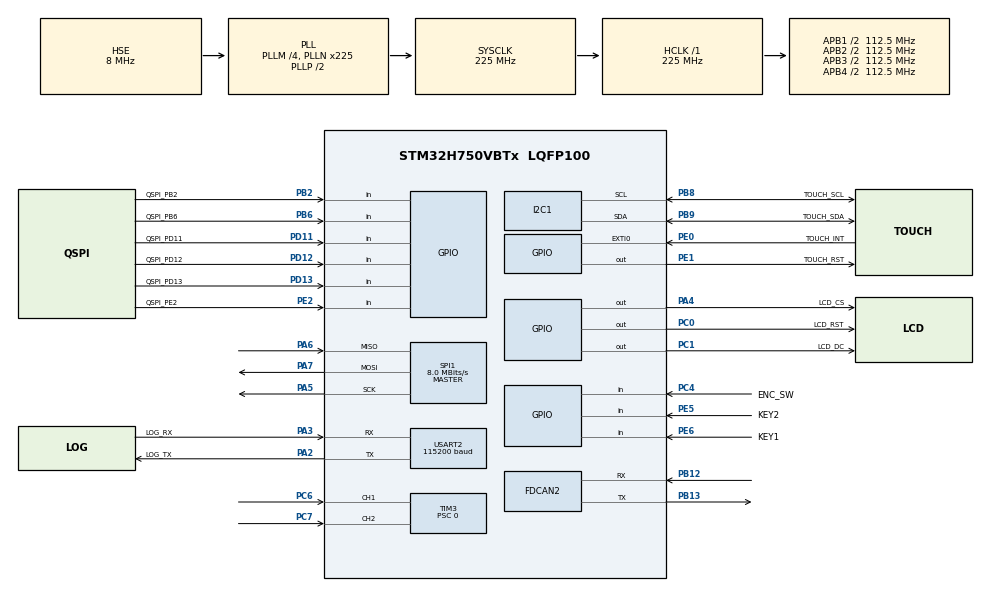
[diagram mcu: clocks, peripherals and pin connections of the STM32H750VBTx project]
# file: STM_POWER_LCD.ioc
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CORTEX_M7.default_mode_Activation=1
FDCAN2.CalculateBaudRateNominal=500000
FDCAN2.CalculateTimeBitNominal=2000
FDCAN2.CalculateTimeQuantumNominal=125.0
FDCAN2.FrameFormat=FDCAN_FRAME_CLASSIC
FDCAN2.Mode=FDCAN_MODE_NORMAL
FDCAN2.NominalPrescaler=1
FDCAN2.NominalSyncJumpWidth=2
FDCAN2.NominalTimeSeg1=13
FDCAN2.NominalTimeSeg2=2
FDCAN2.RxFifo0ElmtsNbr=16
FDCAN2.StdFiltersNbr=1
FDCAN2.TxFifoQueueElmtsNbr=3
FREERTOS.Tasks01=defaultTask,24,256,StartDefaultTask,Default,NULL,Dynamic,NULL,NULL;GuiTask,16,512,StartGuiTask,Gui,NULL,Dynamic,NULL,NULL
FREERTOS.configCHECK_FOR_STACK_OVERFLOW=2
FREERTOS.configTOTAL_HEAP_SIZE=16384
FREERTOS.configUSE_MALLOC_FAILED_HOOK=1
I2C1.Timing=0xB0132D2D
Mcu.Family=STM32H7
Mcu.Name=STM32H750VBTx
Mcu.Package=LQFP100
NVIC.EXTI0_IRQn=true\:6\:0\:true\:false\:true\:true\:true\:true\:true
NVIC.FDCAN2_IT0_IRQn=true\:6\:0\:true\:false\:true\:true\:true\:true\:true
NVIC.FDCAN2_IT1_IRQn=true\:6\:0\:true\:false\:true\:true\:true\:true\:true
NVIC.PriorityGroup=NVIC_PRIORITYGROUP_4
NVIC.TIM6_DAC_IRQn=true\:15\:0\:false\:false\:true\:false\:false\:true\:true
NVIC.TimeBase=TIM6_DAC_IRQn
NVIC.TimeBaseIP=TIM6
PA13\ (JTMS/SWDIO).Mode=Serial_Wire
PA13\ (JTMS/SWDIO).Signal=DEBUG_JTMS-SWDIO
PA14\ (JTCK/SWCLK).Mode=Serial_Wire
PA14\ (JTCK/SWCLK).Signal=DEBUG_JTCK-SWCLK
PA2.GPIO_Label=LOG_TX
PA2.GPIO_Speed=GPIO_SPEED_FREQ_HIGH
PA2.Mode=Asynchronous
PA2.Signal=USART2_TX
PA3.GPIO_Label=LOG_RX
PA3.GPIO_Speed=GPIO_SPEED_FREQ_HIGH
PA3.Mode=Asynchronous
PA3.Signal=USART2_RX
PA4.GPIO_Label=LCD_CS
PA4.GPIO_ModeDefaultOutputPP=GPIO_MODE_OUTPUT_PP
PA4.GPIO_PuPd=GPIO_NOPULL
PA4.GPIO_Speed=GPIO_SPEED_FREQ_VERY_HIGH
PA4.PinState=GPIO_PIN_SET
PA4.Signal=GPIO_Output
PA5.Mode=Full_Duplex_Master
PA5.Signal=SPI1_SCK
PA6.Mode=Full_Duplex_Master
PA6.Signal=SPI1_MISO
PA7.Mode=Full_Duplex_Master
PA7.Signal=SPI1_MOSI
PB12.GPIO_Speed=GPIO_SPEED_FREQ_VERY_HIGH
PB12.Mode=FDCAN_Activate
PB12.Signal=FDCAN2_RX
PB13.GPIO_Speed=GPIO_SPEED_FREQ_VERY_HIGH
PB13.Mode=FDCAN_Activate
PB13.Signal=FDCAN2_TX
PB2.GPIO_Label=QSPI_PB2
PB2.GPIO_PuPd=GPIO_NOPULL
PB2.Signal=GPIO_Input
PB6.GPIO_Label=QSPI_PB6
PB6.GPIO_PuPd=GPIO_NOPULL
PB6.Signal=GPIO_Input
PB8.GPIO_Label=TOUCH_SCL
PB8.GPIO_PuPd=GPIO_NOPULL
PB8.Mode=I2C
PB8.Signal=I2C1_SCL
PB9.GPIO_Label=TOUCH_SDA
PB9.GPIO_PuPd=GPIO_NOPULL
PB9.Mode=I2C
PB9.Signal=I2C1_SDA
PC0.GPIO_Label=LCD_RST
PC0.GPIO_ModeDefaultOutputPP=GPIO_MODE_OUTPUT_PP
PC0.GPIO_PuPd=GPIO_NOPULL
PC0.GPIO_Speed=GPIO_SPEED_FREQ_VERY_HIGH
PC0.PinState=GPIO_PIN_RESET
PC0.Signal=GPIO_Output
PC1.GPIO_Label=LCD_DC
PC1.GPIO_ModeDefaultOutputPP=GPIO_MODE_OUTPUT_PP
PC1.GPIO_PuPd=GPIO_NOPULL
PC1.GPIO_Speed=GPIO_SPEED_FREQ_VERY_HIGH
PC1.PinState=GPIO_PIN_RESET
PC1.Signal=GPIO_Output
PC14-OSC32_IN\ (OSC32_IN).Mode=LSE-External-Oscillator
PC14-OSC32_IN\ (OSC32_IN).Signal=RCC_OSC32_IN
PC15-OSC32_OUT\ (OSC32_OUT).Mode=LSE-External-Oscillator
PC15-OSC32_OUT\ (OSC32_OUT).Signal=RCC_OSC32_OUT
PC4.GPIO_Label=ENC_SW
PC4.GPIO_PuPd=GPIO_PULLUP
PC4.Signal=GPIO_Input
PC6.GPIO_PuPd=GPIO_PULLUP
PC6.Signal=S_TIM3_CH1
PC7.GPIO_PuPd=GPIO_PULLUP
PC7.Signal=S_TIM3_CH2
PD11.GPIO_Label=QSPI_PD11
PD11.GPIO_PuPd=GPIO_NOPULL
PD11.Signal=GPIO_Input
PD12.GPIO_Label=QSPI_PD12
PD12.GPIO_PuPd=GPIO_NOPULL
PD12.Signal=GPIO_Input
PD13.GPIO_Label=QSPI_PD13
PD13.GPIO_PuPd=GPIO_NOPULL
PD13.Signal=GPIO_Input
PE0.GPIO_Label=TOUCH_INT
PE0.GPIO_ModeDefaultEXTI=GPIO_MODE_IT_FALLING
PE0.GPIO_PuPd=GPIO_PULLUP
PE0.Signal=GPXTI0
PE1.GPIO_Label=TOUCH_RST
PE1.GPIO_ModeDefaultOutputPP=GPIO_MODE_OUTPUT_PP
PE1.GPIO_PuPd=GPIO_NOPULL
PE1.GPIO_Speed=GPIO_SPEED_FREQ_LOW
PE1.PinState=GPIO_PIN_SET
PE1.Signal=GPIO_Output
PE2.GPIO_Label=QSPI_PE2
PE2.GPIO_PuPd=GPIO_NOPULL
PE2.Signal=GPIO_Input
PE5.GPIO_Label=KEY2
PE5.GPIO_PuPd=GPIO_PULLUP
PE5.Signal=GPIO_Input
PE6.GPIO_Label=KEY1
PE6.GPIO_PuPd=GPIO_PULLUP
PE6.Signal=GPIO_Input
PH0-OSC_IN\ (PH0).Mode=HSE-External-Oscillator
PH0-OSC_IN\ (PH0).Signal=RCC_OSC_IN
PH1-OSC_OUT\ (PH1).Mode=HSE-External-Oscillator
PH1-OSC_OUT\ (PH1).Signal=RCC_OSC_OUT
ProjectManager.HeapSize=0x200
ProjectManager.StackSize=0x400
ProjectManager.TargetToolchain=MDK-ARM V5.32
RCC.ADCFreq_Value=240000000
RCC.APB1Freq_Value=112500000
RCC.APB2Freq_Value=112500000
RCC.APB3Freq_Value=112500000
RCC.APB4Freq_Value=112500000
RCC.CortexFreq_Value=225000000
RCC.D1PPRE=RCC_APB3_DIV2
RCC.D2PPRE1=RCC_APB1_DIV2
RCC.D2PPRE2=RCC_APB2_DIV2
RCC.D3PPRE=RCC_APB4_DIV2
RCC.DIVM1=4
RCC.DIVM2=4
RCC.DIVM3=4
RCC.DIVN1=225
RCC.DIVN2=240
RCC.DIVN3=200
RCC.FDCANCLockSelection=RCC_FDCANCLKSOURCE_HSE
RCC.HCLKFreq_Value=225000000
RCC.HSE_VALUE=8000000
RCC.PLL2FRACN=0
RCC.PLL3FRACN=0
RCC.PLLFRACN=0
RCC.PLLSourceVirtual=RCC_PLLSOURCE_HSE
RCC.SPI123CLockSelection=RCC_SPI123CLKSOURCE_CLKP
RCC.SYSCLKFreq_VALUE=225000000
RCC.SYSCLKSource=RCC_SYSCLKSOURCE_PLLCLK
RCC.USBFreq_Value=225000000
SH.S_TIM3_CH1.0=TIM3_CH1,Encoder_Interface
SH.S_TIM3_CH2.0=TIM3_CH2,Encoder_Interface
SPI1.BaudRatePrescaler=SPI_BAUDRATEPRESCALER_8
SPI1.CLKPhase=SPI_PHASE_1EDGE
SPI1.CLKPolarity=SPI_POLARITY_LOW
SPI1.CRCCalculation=SPI_CRCCALCULATION_DISABLE
SPI1.CalculateBaudRate=8.0 MBits/s
SPI1.DataSize=SPI_DATASIZE_8BIT
SPI1.Direction=SPI_DIRECTION_2LINES
SPI1.FirstBit=SPI_FIRSTBIT_MSB
SPI1.Mode=SPI_MODE_MASTER
SPI1.NSS=SPI_NSS_SOFT
SPI1.NSSPMode=SPI_NSS_PULSE_DISABLE
SPI1.VirtualType=VM_MASTER
SYS.TimeBaseIP=TIM6
TIM3.AutoReloadPreload=TIM_AUTORELOAD_PRELOAD_DISABLE
TIM3.ClockDivision=TIM_CLOCKDIVISION_DIV1
TIM3.CounterMode=TIM_COUNTERMODE_UP
TIM3.EncoderMode=TIM_ENCODERMODE_TI12
TIM3.IC1Filter=0
TIM3.IC1Polarity=TIM_ICPOLARITY_RISING
TIM3.IC1Prescaler=TIM_ICPSC_DIV1
TIM3.IC1Selection=TIM_ICSELECTION_DIRECTTI
TIM3.IC2Filter=0
TIM3.IC2Polarity=TIM_ICPOLARITY_RISING
TIM3.IC2Prescaler=TIM_ICPSC_DIV1
TIM3.IC2Selection=TIM_ICSELECTION_DIRECTTI
TIM3.Period=65535
TIM3.Prescaler=0
TIM3.TIM_MasterSlaveMode=TIM_MASTERSLAVEMODE_DISABLE
USART2.AutoBaudRateEnableParam=UART_ADVFEATURE_AUTOBAUDRATE_DISABLE
USART2.BaudRate=115200
USART2.DMADisableonRxErrorParam=ADVFEATURE_DMA_ENABLEONRXERROR
USART2.DataInvertParam=ADVFEATURE_DATAINV_DISABLE
USART2.MSBFirstParam=ADVFEATURE_MSBFIRST_DISABLE
USART2.Mode=MODE_TX_RX
USART2.OneBitSampling=UART_ONE_BIT_SAMPLE_DISABLE
USART2.OverSampling=UART_OVERSAMPLING_16
USART2.OverrunDisableParam=ADVFEATURE_OVERRUN_ENABLE
USART2.Parity=PARITY_NONE
USART2.RxPinLevelInvertParam=ADVFEATURE_RXINV_DISABLE
USART2.StopBits=STOPBITS_1
USART2.SwapParam=ADVFEATURE_SWAP_DISABLE
USART2.TxPinLevelInvertParam=ADVFEATURE_TXINV_DISABLE
USART2.VirtualMode-Asynchronous=VM_ASYNC
USART2.WordLength=WORDLENGTH_8B
VP_FREERTOS_VS_CMSIS_V2.Mode=CMSIS_V2
VP_MEMORYMAP_VS_MEMORYMAP.Mode=CurAppReg
VP_SYS_VS_tim6.Mode=TIM6
board=custom

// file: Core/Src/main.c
/* USER CODE BEGIN Header */
/**
  ******************************************************************************
  * @file           : main.c
  * @brief          : Main program body
  ******************************************************************************
  * @attention
  *
  * Copyright (c) 2026 STMicroelectronics.
  * All rights reserved.
  *
  * This software is licensed under terms that can be found in the LICENSE file
  * in the root directory of this software component.
  * If no LICENSE file comes with this software, it is provided AS-IS.
  *
  ******************************************************************************
  */
/* USER CODE END Header */
#include "main.h"
#include "FreeRTOS.h"
#include "cmsis_os2.h"
#include "fdcan.h"
#include "i2c.h"
#include "spi.h"
#include "tim.h"
#include "usart.h"
#include "gpio.h"

void SystemClock_Config(void);
void PeriphCommonClock_Config(void);
static void MPU_Config(void);
void MX_FREERTOS_Init(void);

int main(void)
{

  /* MPU Configuration--------------------------------------------------------*/
  MPU_Config();

  /* MCU Configuration--------------------------------------------------------*/

  /* Reset of all peripherals, Initializes the Flash interface and the Systick. */
  HAL_Init();

  /* Configure the system clock */
  SystemClock_Config();

  /* Configure the peripherals common clocks */
  PeriphCommonClock_Config();

  /* Initialize all configured peripherals */
  MX_GPIO_Init();
  MX_FDCAN2_Init();
  MX_I2C1_Init();
  MX_SPI1_Init();
  MX_TIM3_Init();
  MX_USART2_UART_Init();

  /* Init scheduler */
  osKernelInitialize();  /* Call init function for freertos objects (in cmsis_os2.c) */
  MX_FREERTOS_Init();

  /* Start scheduler */
  osKernelStart();

  /* We should never get here as control is now taken by the scheduler */

  /* Infinite loop */
  while (1)
  {

  }
}

void SystemClock_Config(void)
{
  RCC_OscInitTypeDef RCC_OscInitStruct = {0};
  RCC_ClkInitTypeDef RCC_ClkInitStruct = {0};

  /** Supply configuration update enable
  */
  HAL_PWREx_ConfigSupply(PWR_LDO_SUPPLY);

  /** Configure the main internal regulator output voltage
  */
  __HAL_PWR_VOLTAGESCALING_CONFIG(PWR_REGULATOR_VOLTAGE_SCALE0);

  while(!__HAL_PWR_GET_FLAG(PWR_FLAG_VOSRDY)) {}

  /** Initializes the RCC Oscillators according to the specified parameters
  * in the RCC_OscInitTypeDef structure.
  */
  RCC_OscInitStruct.OscillatorType = RCC_OSCILLATORTYPE_HSI|RCC_OSCILLATORTYPE_HSE;
  RCC_OscInitStruct.HSEState = RCC_HSE_ON;
  RCC_OscInitStruct.HSIState = RCC_HSI_DIV1;
  RCC_OscInitStruct.HSICalibrationValue = RCC_HSICALIBRATION_DEFAULT;
  RCC_OscInitStruct.PLL.PLLState = RCC_PLL_ON;
  RCC_OscInitStruct.PLL.PLLSource = RCC_PLLSOURCE_HSE;
  RCC_OscInitStruct.PLL.PLLM = 4;
  RCC_OscInitStruct.PLL.PLLN = 225;
  RCC_OscInitStruct.PLL.PLLP = 2;
  RCC_OscInitStruct.PLL.PLLQ = 2;
  RCC_OscInitStruct.PLL.PLLR = 2;
  RCC_OscInitStruct.PLL.PLLRGE = RCC_PLL1VCIRANGE_1;
  RCC_OscInitStruct.PLL.PLLVCOSEL = RCC_PLL1VCOWIDE;
  RCC_OscInitStruct.PLL.PLLFRACN = 0;
  if (HAL_RCC_OscConfig(&RCC_OscInitStruct) != HAL_OK)
  {
    Error_Handler();
  }

  /** Initializes the CPU, AHB and APB buses clocks
  */
  RCC_ClkInitStruct.ClockType = RCC_CLOCKTYPE_HCLK|RCC_CLOCKTYPE_SYSCLK
                              |RCC_CLOCKTYPE_PCLK1|RCC_CLOCKTYPE_PCLK2
                              |RCC_CLOCKTYPE_D3PCLK1|RCC_CLOCKTYPE_D1PCLK1;
  RCC_ClkInitStruct.SYSCLKSource = RCC_SYSCLKSOURCE_PLLCLK;
  RCC_ClkInitStruct.SYSCLKDivider = RCC_SYSCLK_DIV1;
  RCC_ClkInitStruct.AHBCLKDivider = RCC_HCLK_DIV1;
  RCC_ClkInitStruct.APB3CLKDivider = RCC_APB3_DIV2;
  RCC_ClkInitStruct.APB1CLKDivider = RCC_APB1_DIV2;
  RCC_ClkInitStruct.APB2CLKDivider = RCC_APB2_DIV2;
  RCC_ClkInitStruct.APB4CLKDivider = RCC_APB4_DIV2;

  if (HAL_RCC_ClockConfig(&RCC_ClkInitStruct, FLASH_LATENCY_3) != HAL_OK)
  {
    Error_Handler();
  }
}

void PeriphCommonClock_Config(void)
{
  RCC_PeriphCLKInitTypeDef PeriphClkInitStruct = {0};

  /** Initializes the peripherals clock
  */
  PeriphClkInitStruct.PeriphClockSelection = RCC_PERIPHCLK_CKPER;
  PeriphClkInitStruct.CkperClockSelection = RCC_CLKPSOURCE_HSI;
  if (HAL_RCCEx_PeriphCLKConfig(&PeriphClkInitStruct) != HAL_OK)
  {
    Error_Handler();
  }
}

 /* MPU Configuration */

void MPU_Config(void)
{
  MPU_Region_InitTypeDef MPU_InitStruct = {0};

  /* Disables the MPU */
  HAL_MPU_Disable();

  /** Initializes and configures the Region and the memory to be protected
  */
  MPU_InitStruct.Enable = MPU_REGION_ENABLE;
  MPU_InitStruct.Number = MPU_REGION_NUMBER0;
  MPU_InitStruct.BaseAddress = 0x0;
  MPU_InitStruct.Size = MPU_REGION_SIZE_4GB;
  MPU_InitStruct.SubRegionDisable = 0x87;
  MPU_InitStruct.TypeExtField = MPU_TEX_LEVEL0;
  MPU_InitStruct.AccessPermission = MPU_REGION_NO_ACCESS;
  MPU_InitStruct.DisableExec = MPU_INSTRUCTION_ACCESS_DISABLE;
  MPU_InitStruct.IsShareable = MPU_ACCESS_SHAREABLE;
  MPU_InitStruct.IsCacheable = MPU_ACCESS_NOT_CACHEABLE;
  MPU_InitStruct.IsBufferable = MPU_ACCESS_NOT_BUFFERABLE;

  HAL_MPU_ConfigRegion(&MPU_InitStruct);
  /* Enables the MPU */
  HAL_MPU_Enable(MPU_PRIVILEGED_DEFAULT);

}

void HAL_TIM_PeriodElapsedCallback(TIM_HandleTypeDef *htim)
{
  if (htim->Instance == TIM6)
  {
    HAL_IncTick();
  }
}

void Error_Handler(void)
{
  __disable_irq();
  while (1)
  {
  }
}

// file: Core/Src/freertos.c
/* USER CODE BEGIN Header */
/**
  ******************************************************************************
  * File Name          : freertos.c
  * Description        : Code for freertos applications
  ******************************************************************************
  * @attention
  *
  * Copyright (c) 2026 STMicroelectronics.
  * All rights reserved.
  *
  * This software is licensed under terms that can be found in the LICENSE file
  * in the root directory of this software component.
  * If no LICENSE file comes with this software, it is provided AS-IS.
  *
  ******************************************************************************
  */
/* USER CODE END Header */

#include "FreeRTOS.h"
#include "task.h"
#include "main.h"
#include "FreeRTOS.h"
#include "cmsis_os2.h"

/* USER CODE BEGIN Includes */
#include "app_bringup.h"
#include "app_input.h"
#include "can_proto.h"
#include "ui_model.h"
#include "ui_main.h"
#include "bsp_log.h"
/* USER CODE END Includes */

/* Definitions for defaultTask */
osThreadId_t defaultTaskHandle;
const osThreadAttr_t defaultTask_attributes = {
  .name = "defaultTask",
  .stack_size = 256 * 4,
  .priority = (osPriority_t) osPriorityNormal,
};
/* Definitions for GuiTask */
osThreadId_t GuiTaskHandle;
const osThreadAttr_t GuiTask_attributes = {
  .name = "GuiTask",
  .stack_size = 512 * 4,
  .priority = (osPriority_t) osPriorityBelowNormal,
};

void StartDefaultTask(void *argument);
void StartGuiTask(void *argument);

void MX_FREERTOS_Init(void); /* (MISRA C 2004 rule 8.1) */

/* Hook prototypes */
void vApplicationStackOverflowHook(xTaskHandle xTask, char *pcTaskName);
void vApplicationMallocFailedHook(void);

/* USER CODE BEGIN 4 */
void vApplicationStackOverflowHook(xTaskHandle xTask, char *pcTaskName)
{
   (void)xTask; (void)pcTaskName;
   __disable_irq();
   for (;;) { } /* stop CAN heartbeat; G474's own timeout shuts the output */
}
/* USER CODE END 4 */

/* USER CODE BEGIN 5 */
void vApplicationMallocFailedHook(void)
{
   __disable_irq();
   for (;;) { }
}
/* USER CODE END 5 */

void MX_FREERTOS_Init(void) {
  /* USER CODE BEGIN Init */
  log_init();
  /* USER CODE END Init */

  /* Create the thread(s) */
  /* creation of defaultTask */
  defaultTaskHandle = osThreadNew(StartDefaultTask, NULL, &defaultTask_attributes);

  /* creation of GuiTask */
  GuiTaskHandle = osThreadNew(StartGuiTask, NULL, &GuiTask_attributes);

}

void StartDefaultTask(void *argument)
{
  /* USER CODE BEGIN StartDefaultTask */
  /* 1 ms housekeeping: log timestamp, encoder polling, key debounce. */
  for(;;)
  {
    bringup_tick_1ms();
    osDelay(1);
  }
  /* USER CODE END StartDefaultTask */
}

void StartGuiTask(void *argument)
{
  /* USER CODE BEGIN StartGuiTask */
  /* Peripheral bring-up checks HAL calls, not physical panel correctness.
     Results go to USART2; the UI also runs without a power board. */
  ui_model_init();
  bringup_run();
  if (can_proto_init() != 0) {
    LOGE("CAN ", "init FAILED");
  }
  ui_main_init();
  ui_main_draw_all();

  for(;;)
  {
    can_proto_poll(0u);
    input_drain();
    ui_main_update();
    osDelay(20);
  }
  /* USER CODE END StartGuiTask */
}
